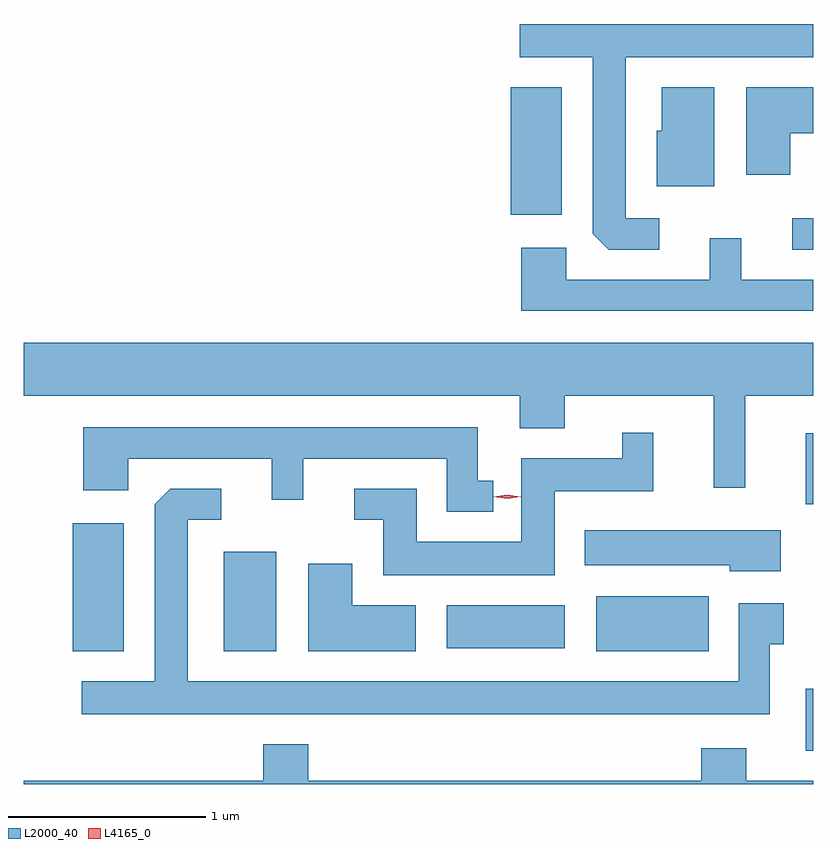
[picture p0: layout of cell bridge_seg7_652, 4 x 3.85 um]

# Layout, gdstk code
import gdstk
lib = gdstk.Library(unit=1e-6, precision=1e-09)
def R(c, l, rs):  # rectangles x0, y0, x1, y1
    for r in rs: c.add(gdstk.rectangle(r[:2], r[2:], *l))
def P(c, l, *ps):  # polygons
    for p in ps: c.add(gdstk.Polygon(p, *l))
L2000_40 = (2000, 40)
L4165_0 = (4165, 0)

bridge_seg7_652 = lib.new_cell('bridge_seg7_652')
R(bridge_seg7_652, L2000_40, [(982.291,1730.276,982.329,1730.589), (978.576,1730.781,978.834,1731.429), (979.341,1730.781,979.609,1731.284), (981.231,1730.781,981.799,1731.059), (980.471,1730.796,981.069,1731.014), (982.291,1731.526,982.329,1731.884), (982.223,1732.816,982.329,1732.974), (980.796,1732.991,981.054,1733.639)])
P(bridge_seg7_652, L2000_40, [(981.548,1732.974),(981.379,1732.974),(981.379,1733.791),(982.329,1733.791),(982.329,1733.959),(980.843,1733.959),(980.843,1733.791),(981.211,1733.791),(981.211,1732.897),(981.292,1732.816),(981.548,1732.816)],
  [(981.829,1733.639),(981.561,1733.639),(981.561,1733.419),(981.536,1733.419),(981.536,1733.136),(981.829,1733.136)],
  [(982.214,1733.406),(982.329,1733.406),(982.329,1733.639),(981.991,1733.639),(981.991,1733.196),(982.214,1733.196)],
  [(982.329,1732.664),(981.964,1732.664),(981.964,1732.873),(981.806,1732.873),(981.806,1732.664),(981.079,1732.664),(981.079,1732.824),(980.851,1732.824),(980.851,1732.506),(982.329,1732.506)],
  [(981.984,1732.076),(982.329,1732.076),(982.329,1732.344),(978.329,1732.344),(978.329,1732.076),(980.841,1732.076),(980.841,1731.911),(981.069,1731.911),(981.069,1732.076),(981.826,1732.076),(981.826,1731.608),(981.984,1731.608)],
  [(980.708,1731.644),(980.629,1731.644),(980.629,1731.914),(978.631,1731.914),(978.631,1731.596),(978.859,1731.596),(978.859,1731.756),(979.586,1731.756),(979.586,1731.548),(979.744,1731.548),(979.744,1731.756),(980.471,1731.756),(980.471,1731.486),(980.708,1731.486)],
  [(981.019,1731.591),(981.519,1731.591),(981.519,1731.888),(981.361,1731.888),(981.361,1731.759),(980.851,1731.759),(980.851,1731.334),(980.319,1731.334),(980.319,1731.604),(980.003,1731.604),(980.003,1731.446),(980.151,1731.446),(980.151,1731.166),(981.019,1731.166)],
  [(982.109,1730.816),(982.179,1730.816),(982.179,1731.024),(981.951,1731.024),(981.951,1730.629),(979.159,1730.629),(979.159,1731.446),(979.328,1731.446),(979.328,1731.604),(979.072,1731.604),(978.991,1731.524),(978.991,1730.629),(978.623,1730.629),(978.623,1730.461),(982.109,1730.461)],
  [(982.164,1731.394),(981.171,1731.394),(981.171,1731.216),(981.906,1731.216),(981.906,1731.186),(982.164,1731.186)],
  [(980.314,1731.014),(979.994,1731.014),(979.994,1731.224),(979.771,1731.224),(979.771,1730.781),(980.314,1730.781)],
  [(982.329,1730.124),(981.989,1730.124),(981.989,1730.289),(981.761,1730.289),(981.761,1730.124),(979.769,1730.124),(979.769,1730.309),(979.541,1730.309),(979.541,1730.124),(978.329,1730.124),(978.329,1730.107),(982.329,1730.107)])
P(bridge_seg7_652, L4165_0, [(980.778,1731.554),(980.709,1731.563),(980.709,1731.564),(980.709,1731.564),(980.778,1731.574),(980.848,1731.564),(980.848,1731.564),(980.848,1731.563)])

lib.write_gds('bridge_seg7_652.gds')
